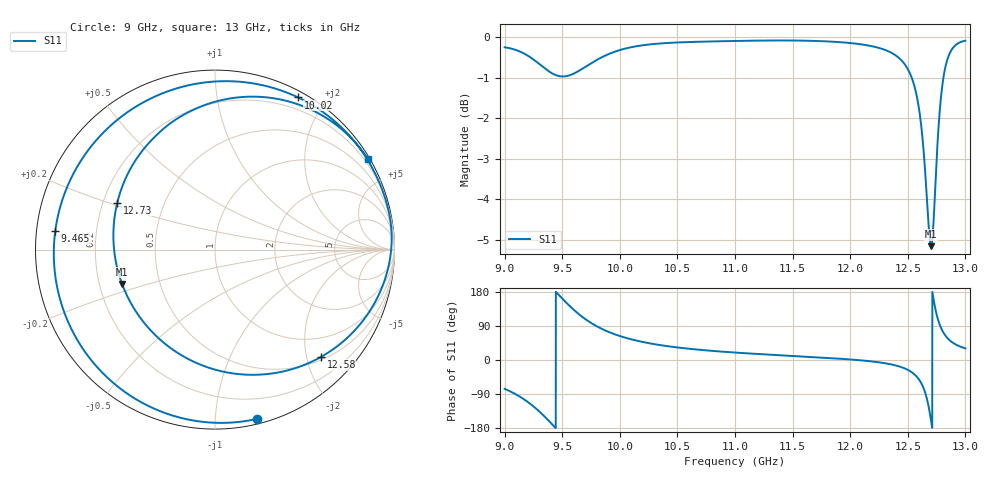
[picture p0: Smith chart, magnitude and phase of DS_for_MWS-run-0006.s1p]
! TOUCHSTONE file generated by CST DESIGN STUDIO
! Date and time: Tue Feb  4 12:44:44 2025
! Project name: C:\Work\MatlabApps\UnitCellOptimizationMatlab\CST\unitcell.cst
! Tree item: Tasks\Sweep1\SPara1\S-Parameters
! Header version: 2024
! Port assignment regex: !\s*Touchstone port\s*([0-9]+)\s*=\s*(CST MWS port|CST DES external port|CST DES block port)\s*(.+)\s* \(\"(.*)\"\)(\s*mode\s*([0-9]+))?.*
! Touchstone port assignment:
! Touchstone port 1 = CST DES external port 1 ("")
# GHz S MA R 50
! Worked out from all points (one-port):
!   4001 points, 9 GHz to 13 GHz, reference 50 ohm
!   lowest |S11| = -5.2 dB at 12.7 GHz (marker M1), VSWR 3.46, Z = 14.9 - j8.19 ohm
!   |S11| at or under -10 dB: nowhere
!   S11 on the Smith chart (normalised r, x): 9 GHz: 0.04, -1.28; 9.465 GHz: 0.06, +0.06; 10.02 GHz: 0.07, +1.68; 12.58 GHz: 0.56, -2.27; 12.73 GHz: 0.26, +0.21; 13 GHz: 0.07, +3.64
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9  0.9719 -76.1
9.138  0.9595 -97.7
9.243  0.9403 -120.5
9.367  0.9112 -155.3
9.465  0.896 173.4
9.5  0.8945 162.2
9.603  0.9021 131.8
9.706  0.9202 106.8
9.852  0.946 81.0
10  0.9642 63.3
10.02  0.966 61.4
10.228  0.9786 45.8
10.5  0.9852 33.1
11  0.9895 19.7
11.5  0.9907 10.7
12  0.9837 1.5
12.31  0.9637 -9.0
12.5  0.9134 -26.0
12.582  0.8402 -45.4
12.619  0.772 -62.2
12.654  0.6718 -89.1
12.678  0.5928 -118.6
12.702  0.552 -159.7
12.727  0.604 154.3
12.76  0.748 109.1
12.796  0.8636 79.9
12.875  0.962 49.1
13  0.9902 30.7
